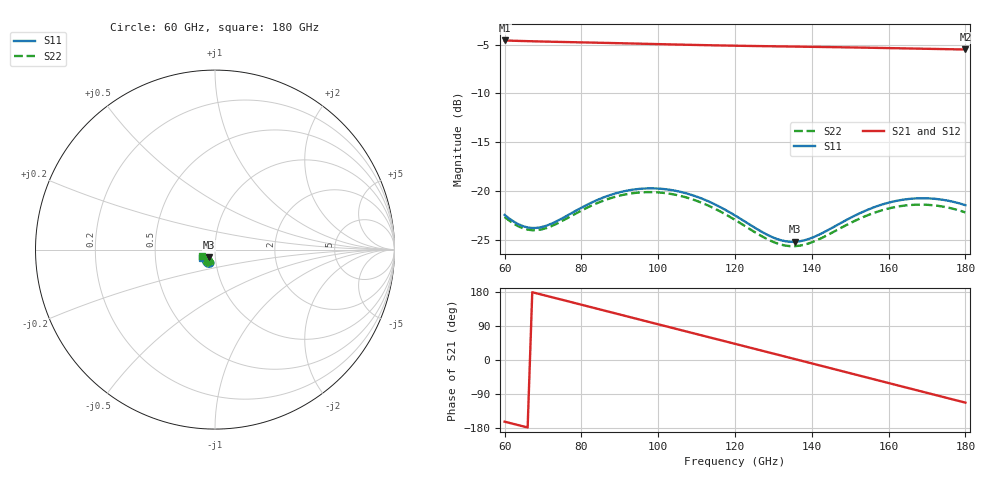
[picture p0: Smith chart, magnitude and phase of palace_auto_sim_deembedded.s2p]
! Created with skrf 1.11.0 (http://scikit-rf.org).
# GHz S DB R 50.0
!freq dBS11 angS11 dBS21 angS21 dBS12 angS12 dBS22 angS22
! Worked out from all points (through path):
!   101 points, 60 GHz to 180 GHz, reference 50 ohm
!   highest |S21| = -4.58 dB at 60 GHz (marker M1); lowest = -5.5 dB at 180 GHz (marker M2)
!   group delay of S21, straight-line fit = 7.17 ps
!   lowest |S11| = -25.2 dB at 135.6 GHz (marker M3), VSWR 1.12, Z = 46.5 - j4.04 ohm
!   |S11| at or under -10 dB: start of sweep to end of sweep
!   |S22| runs from -25.6 to -20.1 dB; largest |S21 - S12| = 9.4e-14
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60  -22.41 -119.4  -4.58 -162.8  -4.58 -162.8  -22.61 -119.9
64.8  -23.55 -112.0  -4.64 -175.0  -4.64 -175.0  -23.77 -112.8
68.4  -23.73 -105.2  -4.68 175.8  -4.68 175.8  -23.96 -106.1
74.4  -22.88 -97.5  -4.73 160.4  -4.73 160.4  -23.14 -98.7
80.4  -21.58 -97.2  -4.78 144.9  -4.78 144.9  -21.88 -98.7
86.4  -20.52 -102.0  -4.83 129.4  -4.83 129.4  -20.85 -103.8
91.2  -19.98 -107.9  -4.88 117.0  -4.88 117.0  -20.33 -109.8
96  -19.72 -114.7  -4.92 104.5  -4.92 104.5  -20.09 -116.8
100.8  -19.73 -121.7  -4.96 92.1  -4.96 92.1  -20.13 -124.0
105.6  -20.03 -128.5  -5.01 79.8  -5.01 79.8  -20.44 -131.0
110.4  -20.59 -134.6  -5.05 67.4  -5.05 67.4  -21.02 -137.3
120  -22.46 -142.2  -5.12 42.7  -5.12 42.7  -22.91 -145.3
128.4  -24.43 -139.3  -5.17 21.0  -5.17 21.0  -24.88 -142.7
135.6  -25.15 -128.4  -5.21 2.4  -5.21 2.4  -25.59 -132.5
140.4  -24.68 -121.3  -5.24 -10.0  -5.24 -10.0  -25.14 -125.8
150  -22.72 -117.3  -5.29 -34.9  -5.29 -34.9  -23.24 -122.6
156  -21.65 -120.9  -5.33 -50.4  -5.33 -50.4  -22.22 -126.6
160.8  -21.07 -125.6  -5.37 -62.9  -5.37 -62.9  -21.67 -131.5
165.6  -20.76 -131.1  -5.40 -75.3  -5.40 -75.3  -21.39 -137.3
170.4  -20.71 -136.9  -5.44 -87.7  -5.44 -87.7  -21.38 -143.4
175.2  -20.93 -142.6  -5.47 -100.1  -5.47 -100.1  -21.63 -149.4
180  -21.41 -147.7  -5.51 -112.5  -5.51 -112.5  -22.15 -154.7
